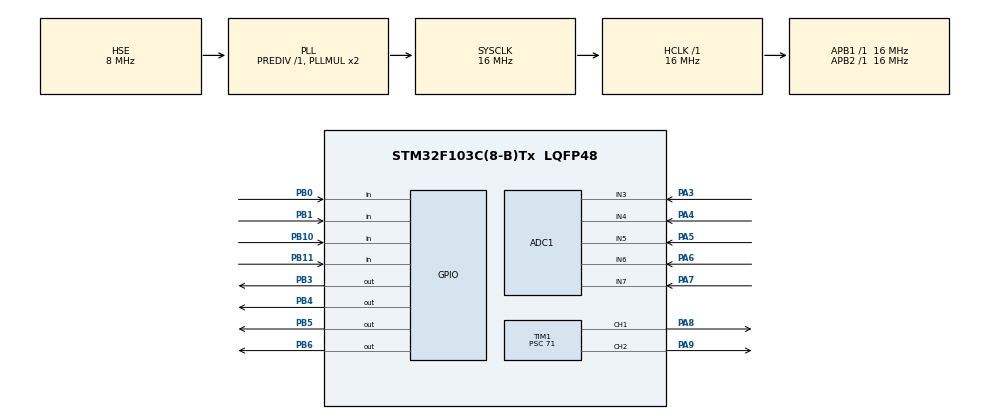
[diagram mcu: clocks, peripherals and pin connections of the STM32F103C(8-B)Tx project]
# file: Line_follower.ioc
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ADC1.Channel-6\#ChannelRegularConversion=ADC_CHANNEL_3
ADC1.NbrOfConversionFlag=1
ADC1.Rank-6\#ChannelRegularConversion=1
ADC1.SamplingTime-6\#ChannelRegularConversion=ADC_SAMPLETIME_1CYCLE_5
ADC1.master=1
Mcu.Family=STM32F1
Mcu.Name=STM32F103C(8-B)Tx
Mcu.Package=LQFP48
NVIC.PriorityGroup=NVIC_PRIORITYGROUP_4
PA13.Mode=Serial_Wire
PA13.Signal=SYS_JTMS-SWDIO
PA14.Mode=Serial_Wire
PA14.Signal=SYS_JTCK-SWCLK
PA3.Signal=ADCx_IN3
PA4.Signal=ADCx_IN4
PA5.Signal=ADCx_IN5
PA6.Signal=ADCx_IN6
PA7.Signal=ADCx_IN7
PA8.Signal=S_TIM1_CH1
PA9.Signal=S_TIM1_CH2
PB0.GPIO_PuPd=GPIO_PULLUP
PB0.Signal=GPIO_Input
PB1.GPIO_PuPd=GPIO_PULLUP
PB1.Signal=GPIO_Input
PB10.GPIO_PuPd=GPIO_PULLUP
PB10.Signal=GPIO_Input
PB11.GPIO_PuPd=GPIO_PULLUP
PB11.Signal=GPIO_Input
PB3.Signal=GPIO_Output
PB4.Signal=GPIO_Output
PB5.Signal=GPIO_Output
PB6.Signal=GPIO_Output
PD0-OSC_IN.Mode=HSE-External-Oscillator
PD0-OSC_IN.Signal=RCC_OSC_IN
PD1-OSC_OUT.Mode=HSE-External-Oscillator
PD1-OSC_OUT.Signal=RCC_OSC_OUT
ProjectManager.HeapSize=0x200
ProjectManager.StackSize=0x400
ProjectManager.TargetToolchain=MDK-ARM V5.32
RCC.AHBFreq_Value=16000000
RCC.APB1Freq_Value=16000000
RCC.APB1TimFreq_Value=16000000
RCC.APB2Freq_Value=16000000
RCC.APB2TimFreq_Value=16000000
RCC.HCLKFreq_Value=16000000
RCC.PLLSourceVirtual=RCC_PLLSOURCE_HSE
RCC.SYSCLKFreq_VALUE=16000000
RCC.SYSCLKSource=RCC_SYSCLKSOURCE_PLLCLK
RCC.USBFreq_Value=16000000
SH.ADCx_IN3.0=ADC1_IN3,IN3
SH.ADCx_IN4.0=ADC1_IN4,IN4
SH.ADCx_IN5.0=ADC1_IN5,IN5
SH.ADCx_IN6.0=ADC1_IN6,IN6
SH.ADCx_IN7.0=ADC1_IN7,IN7
SH.S_TIM1_CH1.0=TIM1_CH1,PWM Generation1 CH1
SH.S_TIM1_CH2.0=TIM1_CH2,PWM Generation2 CH2
TIM1.Channel-PWM\ Generation1\ CH1=TIM_CHANNEL_1
TIM1.Channel-PWM\ Generation2\ CH2=TIM_CHANNEL_2
TIM1.Period=999
TIM1.Prescaler=71
VP_TIM1_VS_ClockSourceINT.Mode=Internal
board=custom

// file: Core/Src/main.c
/* USER CODE BEGIN Header */
/**
  ******************************************************************************
  * @file           : main.c
  * @brief          : Main program body
  ******************************************************************************
  * @attention
  *
  * Copyright (c) 2025 STMicroelectronics.
  * All rights reserved.
  *
  * This software is licensed under terms that can be found in the LICENSE file
  * in the root directory of this software component.
  * If no LICENSE file comes with this software, it is provided AS-IS.
  *
  ******************************************************************************
  */
/* USER CODE END Header */
#include "main.h"

/* USER CODE BEGIN Includes */
#include "motor_control.h"
#include "sensor.h"
#include "math.h"
/* USER CODE END Includes */

ADC_HandleTypeDef hadc1;

TIM_HandleTypeDef htim1;

void SystemClock_Config(void);
static void MX_GPIO_Init(void);
static void MX_TIM1_Init(void);
static void MX_ADC1_Init(void);

/* USER CODE BEGIN 0 */
uint8_t test = 0;
//unsigned long lastTime = 0;
//void HAL_GPIO_EXTI_Callback(uint16_t GPIO_Pin){
//		unsigned long currentTime = HAL_GetTick();
//    if (currentTime - lastTime < 200){
//				return;
//		}
//		if ( S2 == Thay_Line && S4 == Khong_Thay_Line){
//			TurnRight();
//			test = 3;
//	 }
//		else if( S2 == Khong_Thay_Line && S4 == Thay_Line){
//			TurnLeft();
//			test = 2;
//	 }
//	 else if ( S2 == Khong_Thay_Line && S4 == Khong_Thay_Line){
//			GoAhead();
//			test = 1;
//	}
//	else {
//			Stop();
//			test = 0;
//	}
//	lastTime = currentTime;
//}
//const uint16_t ADC_THRESHOLD = 2000;

//void read_sensors(void)
//{
////  uint8_t s1 = HAL_GPIO_ReadPin(GPIOB,GPIO_PIN_0); // Ngo�i c�ng b�n tr�i
////  uint8_t s2 = HAL_GPIO_ReadPin(GPIOB,GPIO_PIN_11);
////  uint8_t s3 = HAL_GPIO_ReadPin(GPIOB,GPIO_PIN_1);
////  uint8_t s4 = HAL_GPIO_ReadPin(GPIOB,GPIO_PIN_10); // Ngo�i c�ng b�n ph?i
//
//	read_adc_tcrt5000();
//  // T�nh to�n 'error' d?a tr�n tr?ng th�i c?m bi?n.
//  // Gi� tr? duong nghia l� xe l?ch ph?i, �m l� l?ch tr�i.
////  if      ((s1==0) && (s2==0) && (s3==0) && (s4==1)) error = 3;
////  else if ((s1==0) && (s2==0) && (s3==1) && (s4==1)) error = 2;
////  else if ((s1==0) && (s2==0) && (s3==1) && (s4==0)) error = 1;
////  else if ((s1==0) && (s2==1) && (s3==1) && (s4==0)) error = 0; // V? tr� l� tu?ng
////  else if ((s1==0) && (s2==1) && (s3==0) && (s4==0)) error = -1;
////  else if ((s1==1) && (s2==1) && (s3==0) && (s4==0)) error = -2;
////  else if ((s1==1) && (s2==0) && (s3==0) && (s4==0)) error = -3;
////  // N?u kh�ng th?y line, gi? l?i cu?i c�ng
////  else if ((s1==0) && (s2==0) && (s3==0) && (s4==0)) {
////			GPIOB->ODR &= ~((1 << 3) | (1 << 4) | (1 << 5) |(1 << 6));
////      if (lastError > 0) error = 4;
////      else error = -4;
////  }
//}

// --- PID Constants ---
double Kp = 110;   // T? l?
double Ki = 0;    // T�ch ph�n
double Kd = 20;   // Vi ph�n

// --- PID Variables ---
int error = 0;
int lastError = 0;
double integral = 0;
double derivative = 0;
double pid_value = 0;

// --- Motor Speed ---
int motor_speed = 650; // T?c d? co b?n (0-999)
int left_motor_speed = 0;
int right_motor_speed = 0;

uint16_t adc_val[5] = {0};  // Lưu giá trị ADC cho 5 mắt
uint8_t digital_sensor[5] = {0};  // Sau khi so với ngưỡng thì là 0 hoặc 1
const uint16_t ADC_THRESHOLD = 2000;

void read_sensors_digital_from_adc(void)
{
    ADC_ChannelConfTypeDef sConfig = {0};

    for (int i = 0; i < 5; i++) {
        sConfig.Channel = ADC_CHANNEL_3 + i;  // ADC1_IN3 đến IN7
        sConfig.Rank = ADC_REGULAR_RANK_1;
        sConfig.SamplingTime = ADC_SAMPLETIME_71CYCLES_5;
        HAL_ADC_ConfigChannel(&hadc1, &sConfig);

        HAL_ADC_Start(&hadc1);
        if (HAL_ADC_PollForConversion(&hadc1, 10) == HAL_OK) {
            adc_val[i] = HAL_ADC_GetValue(&hadc1);
        }
        HAL_ADC_Stop(&hadc1);

        // So sánh với ngưỡng để tạo digital (TTL style)
        if (adc_val[i] < ADC_THRESHOLD)
            digital_sensor[i] = 1;  // phát hiện line (đen)
        else
            digital_sensor[i] = 0;  // không phát hiện
    }
}

void calculate_error_from_digital_sensor(void)
{
    uint8_t s0 = digital_sensor[4]; // trái ngoài
    uint8_t s1 = digital_sensor[3]; // trái giữa
    uint8_t s2 = digital_sensor[2]; // giữa
    uint8_t s3 = digital_sensor[1]; // phải giữa
    uint8_t s4 = digital_sensor[0]; // phải ngoài

    if      ((s0==0) && (s1==0) && (s2==0) && (s3==0) && (s4==1)) error = 8;
    else if ((s0==0) && (s1==0) && (s2==0) && (s3==1) && (s4==1)) error = 5;
    else if ((s0==0) && (s1==0) && (s2==0) && (s3==1) && (s4==0)) error = 5;
    else if ((s0==0) && (s1==0) && (s2==1) && (s3==0) && (s4==0)) error = 0;
    else if ((s0==0) && (s1==1) && (s2==1) && (s3==0) && (s4==0)) error = -5;
    else if ((s0==1) && (s1==1) && (s2==0) && (s3==0) && (s4==0)) error = -5;
    else if ((s0==1) && (s1==0) && (s2==0) && (s3==0) && (s4==0)) error = -8;
    else if ((s0==0) && (s1==0) && (s2==0) && (s3==0) && (s4==0)) {
        if (lastError > 0) error = 4;
        else error = -4;
    }

    lastError = error;
}

void calculate_pid(void)
{
    // Th�nh ph?n t? l? (Proportional)
    // Ph?n ?ng t?c th?i v?i l?i hi?n t?i.
    // P = Kp * error;

    // Th�nh ph?n t�ch ph�n (Integral)
    // T?ng h?p c�c l?i trong qu� kh?, gi�p lo?i b? sai s? x�c l?p.
    integral += error;

    // Th�nh ph?n vi ph�n (Derivative)
    // D? do�n l?i trong tuong lai b?ng c�ch xem x�t t?c d? thay d?i c?a l?i.
    derivative = error - lastError;

    // T�nh to�n t?ng gi� tr? PID
    pid_value = (Kp * error) + (Ki * integral) + (Kd * derivative);

    // C?p nh?t l?i cu?i c�ng
    lastError = error;
}
int left_motor_speed_raw;
int right_motor_speed_raw;
int speed = 0;
void control_motors(void) {
    // T�nh to�n t?c d? raw (c� th? �m ho?c duong)
    left_motor_speed_raw 	= motor_speed - pid_value;
    right_motor_speed_raw = motor_speed + pid_value;
		// Gi?i h?n t?c d? t?i da 999
		if (left_motor_speed_raw > 800) 				left_motor_speed_raw 	= 800;
		else if( right_motor_speed_raw > 800) 	right_motor_speed_raw = 800;
    if (left_motor_speed_raw < -800 ) 			left_motor_speed_raw  = -800;
		else if( right_motor_speed_raw < -800) 	right_motor_speed_raw = -800;
		speed = 0;
		if(left_motor_speed_raw > right_motor_speed_raw) {
				speed = left_motor_speed_raw; // B? d?u �m
				if(speed < 0) speed = -speed;

				__HAL_TIM_SET_COMPARE(&htim1, TIM_CHANNEL_2, speed);
				__HAL_TIM_SET_COMPARE(&htim1, TIM_CHANNEL_1, speed);

				GPIOB->ODR &= ~((1 << 3) | (1 << 4) | (1 << 5) |(1 << 6));
				GPIOB->ODR |= (1<<4) | (1<<5);	// trai lui phai tien
		}
		else if (left_motor_speed_raw < right_motor_speed_raw) {
				speed = right_motor_speed_raw; // B? d?u �m
				if(speed < 0) speed = -speed;

				__HAL_TIM_SET_COMPARE(&htim1, TIM_CHANNEL_2, speed);
				__HAL_TIM_SET_COMPARE(&htim1, TIM_CHANNEL_1, speed);

				GPIOB->ODR &= ~((1 << 3) | (1 << 4) | (1 << 5) |(1 << 6));
				GPIOB->ODR |= (1<<3) | (1<<6);	// trai tien phai lui
		}
		else{
				speed = right_motor_speed_raw; // B? d?u �m

				__HAL_TIM_SET_COMPARE(&htim1, TIM_CHANNEL_2, speed);
				__HAL_TIM_SET_COMPARE(&htim1, TIM_CHANNEL_1, speed);

				GPIOB->ODR &= ~((1 << 3) | (1 << 4) | (1 << 5) |(1 << 6));
				GPIOB->ODR |= (1<<3) | (1<<5);
		}

		//        HAL_GPIO_WritePin(GPIOB, GPIO_PIN_4, GPIO_PIN_SET);   // IN1 = 1
//        HAL_GPIO_WritePin(GPIOB, GPIO_PIN_3, GPIO_PIN_RESET); // IN2 = 0
//
//        HAL_GPIO_WritePin(GPIOB, GPIO_PIN_6, GPIO_PIN_RESET); // IN3 = 0
//        HAL_GPIO_WritePin(GPIOB, GPIO_PIN_5, GPIO_PIN_SET);   // IN4 = 1
//    // --- X? l� motor TR�I ---
//    if (left_motor_speed_raw > 0) {
//
//    }
//    else {
//
//        __HAL_TIM_SET_COMPARE(&htim1, TIM_CHANNEL_2, speed);
//        HAL_GPIO_WritePin(GPIOB, GPIO_PIN_4, GPIO_PIN_RESET); // IN1 = 0
//        HAL_GPIO_WritePin(GPIOB, GPIO_PIN_3, GPIO_PIN_SET);   // IN2 = 1
//    }

//    // --- X? l� motor PH?I ---
//    if (right_motor_speed_raw > 0) {
//				__HAL_TIM_SET_COMPARE(&htim1, TIM_CHANNEL_1, speed);
//        HAL_GPIO_WritePin(GPIOB, GPIO_PIN_6, GPIO_PIN_SET);   // IN3 = 1
//        HAL_GPIO_WritePin(GPIOB, GPIO_PIN_5, GPIO_PIN_RESET); // IN4 = 0
//    }
//    else {
//
//    }
}
void control_motors_v2(void) {
    // T�nh to�n t?c d? raw (c� th? �m ho?c duong)
    left_motor_speed_raw 	= motor_speed - pid_value;
    right_motor_speed_raw = motor_speed + pid_value;
		// Gi?i h?n t?c d? t?i da 999
		if (left_motor_speed_raw > 800) 				left_motor_speed_raw 	= 800;
		else if( right_motor_speed_raw > 800) 	right_motor_speed_raw = 800;
    if (left_motor_speed_raw < -800 ) 			left_motor_speed_raw  = -800;
		else if( right_motor_speed_raw < -800) 	right_motor_speed_raw = -800;
		speed = 0;
		if(left_motor_speed_raw < 0) {
				speed = left_motor_speed_raw; // B? d?u �m
				if(speed < 0) speed = -speed;

				__HAL_TIM_SET_COMPARE(&htim1, TIM_CHANNEL_2, speed);
				__HAL_TIM_SET_COMPARE(&htim1, TIM_CHANNEL_1, speed);

				GPIOB->ODR &= ~((1 << 3) | (1 << 4) | (1 << 5) |(1 << 6));
				GPIOB->ODR |= (1<<4) | (1<<5);	// trai lui phai tien
		}
		else if (right_motor_speed_raw < 0) {
				speed = right_motor_speed_raw; // B? d?u �m
				if(speed < 0) speed = -speed;

				__HAL_TIM_SET_COMPARE(&htim1, TIM_CHANNEL_2, speed);
				__HAL_TIM_SET_COMPARE(&htim1, TIM_CHANNEL_1, speed);

				GPIOB->ODR &= ~((1 << 3) | (1 << 4) | (1 << 5) |(1 << 6));
				GPIOB->ODR |= (1<<3) | (1<<6);	// trai tien phai lui
		}
		else{
				speed = right_motor_speed_raw; // B? d?u �m

				__HAL_TIM_SET_COMPARE(&htim1, TIM_CHANNEL_2, speed);
				__HAL_TIM_SET_COMPARE(&htim1, TIM_CHANNEL_1, speed);

				GPIOB->ODR &= ~((1 << 3) | (1 << 4) | (1 << 5) |(1 << 6));
				GPIOB->ODR |= (1<<3) | (1<<5);
		}
}
int son = 0;
//4 trai tien, 3 trai lui, 5 phai lui, 6 phai tien
/* USER CODE END 0 */

int main(void)
{

  /* MCU Configuration--------------------------------------------------------*/

  /* Reset of all peripherals, Initializes the Flash interface and the Systick. */
  HAL_Init();

  /* Configure the system clock */
  SystemClock_Config();

  /* Initialize all configured peripherals */
  MX_GPIO_Init();
  MX_TIM1_Init();
  MX_ADC1_Init();

  /* Infinite loop */
  /* USER CODE BEGIN WHILE */
	HAL_TIM_PWM_Start(&htim1, TIM_CHANNEL_1);
	HAL_TIM_PWM_Start(&htim1, TIM_CHANNEL_2);
	Stop();
//	__HAL_TIM_SET_COMPARE(&htim1, TIM_CHANNEL_2, 800);
//	__HAL_TIM_SET_COMPARE(&htim1, TIM_CHANNEL_1, 800);

//	GPIOB->ODR &= ~((1 << 3) | (1 << 4) | (1 << 5) |(1 << 6));
//	GPIOB->ODR |= (1<<3) | (1<<5);	// trai tien phai lui
  while (1)
  {
    /* USER CODE END WHILE */

    /* USER CODE BEGIN 3 */
		read_sensors_digital_from_adc();     // Đọc ADC + so ngưỡng
    calculate_error_from_digital_sensor(); // Chuyển sang error kiểu TTL
    calculate_pid();
    control_motors();

    HAL_Delay(2);
//		calculate_error_from_digital_sensor();
//    calculate_pid();
//    control_motors();
//    HAL_Delay(10); // Th�m m?t d? tr? nh?
//		line_follow();
//		HAL_Delay(10);
  }
  /* USER CODE END 3 */
}

void SystemClock_Config(void)
{
  RCC_OscInitTypeDef RCC_OscInitStruct = {0};
  RCC_ClkInitTypeDef RCC_ClkInitStruct = {0};
  RCC_PeriphCLKInitTypeDef PeriphClkInit = {0};

  /** Initializes the RCC Oscillators according to the specified parameters
  * in the RCC_OscInitTypeDef structure.
  */
  RCC_OscInitStruct.OscillatorType = RCC_OSCILLATORTYPE_HSE;
  RCC_OscInitStruct.HSEState = RCC_HSE_ON;
  RCC_OscInitStruct.HSEPredivValue = RCC_HSE_PREDIV_DIV1;
  RCC_OscInitStruct.HSIState = RCC_HSI_ON;
  RCC_OscInitStruct.PLL.PLLState = RCC_PLL_ON;
  RCC_OscInitStruct.PLL.PLLSource = RCC_PLLSOURCE_HSE;
  RCC_OscInitStruct.PLL.PLLMUL = RCC_PLL_MUL2;
  if (HAL_RCC_OscConfig(&RCC_OscInitStruct) != HAL_OK)
  {
    Error_Handler();
  }

  /** Initializes the CPU, AHB and APB buses clocks
  */
  RCC_ClkInitStruct.ClockType = RCC_CLOCKTYPE_HCLK|RCC_CLOCKTYPE_SYSCLK
                              |RCC_CLOCKTYPE_PCLK1|RCC_CLOCKTYPE_PCLK2;
  RCC_ClkInitStruct.SYSCLKSource = RCC_SYSCLKSOURCE_PLLCLK;
  RCC_ClkInitStruct.AHBCLKDivider = RCC_SYSCLK_DIV1;
  RCC_ClkInitStruct.APB1CLKDivider = RCC_HCLK_DIV1;
  RCC_ClkInitStruct.APB2CLKDivider = RCC_HCLK_DIV1;

  if (HAL_RCC_ClockConfig(&RCC_ClkInitStruct, FLASH_LATENCY_0) != HAL_OK)
  {
    Error_Handler();
  }
  PeriphClkInit.PeriphClockSelection = RCC_PERIPHCLK_ADC;
  PeriphClkInit.AdcClockSelection = RCC_ADCPCLK2_DIV2;
  if (HAL_RCCEx_PeriphCLKConfig(&PeriphClkInit) != HAL_OK)
  {
    Error_Handler();
  }
}

static void MX_ADC1_Init(void)
{

  ADC_ChannelConfTypeDef sConfig = {0};

  /** Common config
  */
  hadc1.Instance = ADC1;
  hadc1.Init.ScanConvMode = ADC_SCAN_DISABLE;
  hadc1.Init.ContinuousConvMode = DISABLE;
  hadc1.Init.DiscontinuousConvMode = DISABLE;
  hadc1.Init.ExternalTrigConv = ADC_SOFTWARE_START;
  hadc1.Init.DataAlign = ADC_DATAALIGN_RIGHT;
  hadc1.Init.NbrOfConversion = 1;
  if (HAL_ADC_Init(&hadc1) != HAL_OK)
  {
    Error_Handler();
  }

  /** Configure Regular Channel
  */
  sConfig.Channel = ADC_CHANNEL_3;
  sConfig.Rank = ADC_REGULAR_RANK_1;
  sConfig.SamplingTime = ADC_SAMPLETIME_1CYCLE_5;
  if (HAL_ADC_ConfigChannel(&hadc1, &sConfig) != HAL_OK)
  {
    Error_Handler();
  }

}

static void MX_TIM1_Init(void)
{

  TIM_ClockConfigTypeDef sClockSourceConfig = {0};
  TIM_MasterConfigTypeDef sMasterConfig = {0};
  TIM_OC_InitTypeDef sConfigOC = {0};
  TIM_BreakDeadTimeConfigTypeDef sBreakDeadTimeConfig = {0};

  htim1.Instance = TIM1;
  htim1.Init.Prescaler = 71;
  htim1.Init.CounterMode = TIM_COUNTERMODE_UP;
  htim1.Init.Period = 999;
  htim1.Init.ClockDivision = TIM_CLOCKDIVISION_DIV1;
  htim1.Init.RepetitionCounter = 0;
  htim1.Init.AutoReloadPreload = TIM_AUTORELOAD_PRELOAD_DISABLE;
  if (HAL_TIM_Base_Init(&htim1) != HAL_OK)
  {
    Error_Handler();
  }
  sClockSourceConfig.ClockSource = TIM_CLOCKSOURCE_INTERNAL;
  if (HAL_TIM_ConfigClockSource(&htim1, &sClockSourceConfig) != HAL_OK)
  {
    Error_Handler();
  }
  if (HAL_TIM_PWM_Init(&htim1) != HAL_OK)
  {
    Error_Handler();
  }
  sMasterConfig.MasterOutputTrigger = TIM_TRGO_RESET;
  sMasterConfig.MasterSlaveMode = TIM_MASTERSLAVEMODE_DISABLE;
  if (HAL_TIMEx_MasterConfigSynchronization(&htim1, &sMasterConfig) != HAL_OK)
  {
    Error_Handler();
  }
  sConfigOC.OCMode = TIM_OCMODE_PWM1;
  sConfigOC.Pulse = 0;
  sConfigOC.OCPolarity = TIM_OCPOLARITY_HIGH;
  sConfigOC.OCNPolarity = TIM_OCNPOLARITY_HIGH;
  sConfigOC.OCFastMode = TIM_OCFAST_DISABLE;
  sConfigOC.OCIdleState = TIM_OCIDLESTATE_RESET;
  sConfigOC.OCNIdleState = TIM_OCNIDLESTATE_RESET;
  if (HAL_TIM_PWM_ConfigChannel(&htim1, &sConfigOC, TIM_CHANNEL_1) != HAL_OK)
  {
    Error_Handler();
  }
  if (HAL_TIM_PWM_ConfigChannel(&htim1, &sConfigOC, TIM_CHANNEL_2) != HAL_OK)
  {
    Error_Handler();
  }
  sBreakDeadTimeConfig.OffStateRunMode = TIM_OSSR_DISABLE;
  sBreakDeadTimeConfig.OffStateIDLEMode = TIM_OSSI_DISABLE;
  sBreakDeadTimeConfig.LockLevel = TIM_LOCKLEVEL_OFF;
  sBreakDeadTimeConfig.DeadTime = 0;
  sBreakDeadTimeConfig.BreakState = TIM_BREAK_DISABLE;
  sBreakDeadTimeConfig.BreakPolarity = TIM_BREAKPOLARITY_HIGH;
  sBreakDeadTimeConfig.AutomaticOutput = TIM_AUTOMATICOUTPUT_DISABLE;
  if (HAL_TIMEx_ConfigBreakDeadTime(&htim1, &sBreakDeadTimeConfig) != HAL_OK)
  {
    Error_Handler();
  }
  HAL_TIM_MspPostInit(&htim1);

}

static void MX_GPIO_Init(void)
{
  GPIO_InitTypeDef GPIO_InitStruct = {0};

  /* GPIO Ports Clock Enable */
  __HAL_RCC_GPIOD_CLK_ENABLE();
  __HAL_RCC_GPIOA_CLK_ENABLE();
  __HAL_RCC_GPIOB_CLK_ENABLE();

  /*Configure GPIO pin Output Level */
  HAL_GPIO_WritePin(GPIOB, GPIO_PIN_3|GPIO_PIN_4|GPIO_PIN_5|GPIO_PIN_6, GPIO_PIN_RESET);

  /*Configure GPIO pins : PB0 PB1 PB10 PB11 */
  GPIO_InitStruct.Pin = GPIO_PIN_0|GPIO_PIN_1|GPIO_PIN_10|GPIO_PIN_11;
  GPIO_InitStruct.Mode = GPIO_MODE_INPUT;
  GPIO_InitStruct.Pull = GPIO_PULLUP;
  HAL_GPIO_Init(GPIOB, &GPIO_InitStruct);

  /*Configure GPIO pins : PB3 PB4 PB5 PB6 */
  GPIO_InitStruct.Pin = GPIO_PIN_3|GPIO_PIN_4|GPIO_PIN_5|GPIO_PIN_6;
  GPIO_InitStruct.Mode = GPIO_MODE_OUTPUT_PP;
  GPIO_InitStruct.Pull = GPIO_NOPULL;
  GPIO_InitStruct.Speed = GPIO_SPEED_FREQ_LOW;
  HAL_GPIO_Init(GPIOB, &GPIO_InitStruct);

}

void Error_Handler(void)
{
  __disable_irq();
  while (1)
  {
  }
}
